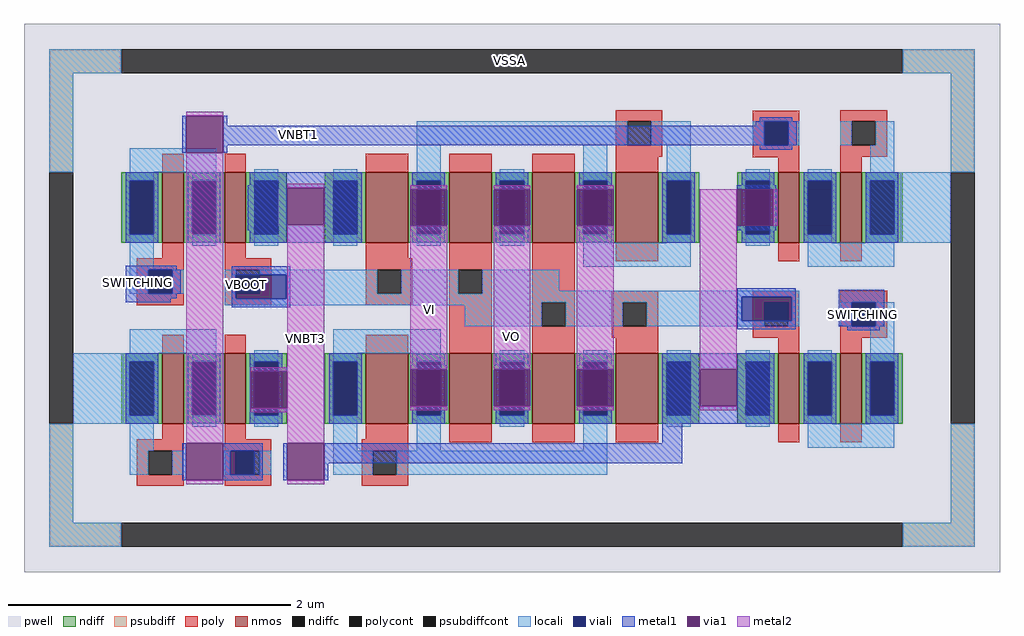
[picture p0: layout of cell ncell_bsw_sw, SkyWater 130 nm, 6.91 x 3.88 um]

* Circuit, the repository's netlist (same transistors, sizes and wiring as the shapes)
** sch_path: /home/yohanes/sky130_projects/UNIC-CASS-2024/xschem/ncell_bsw_sw.sch
.subckt ncell_bsw_sw VI VBOOT VNBT1 VNBT3 SWITCHING VSSA VO
*.PININFO VI:I VBOOT:I VNBT1:I VNBT3:I SWITCHING:I VSSA:I VO:O
XM1 VI VBOOT VNBT3 VSSA sky130_fd_pr__nfet_01v8 L=0.3 W=0.5 nf=1 m=2
XM2 VO VBOOT VI VSSA sky130_fd_pr__nfet_01v8 L=0.3 W=0.5 nf=1 m=4
XM3 VNBT3 VBOOT SWITCHING VSSA sky130_fd_pr__nfet_01v8 L=0.15 W=0.5 nf=1 m=2
XM4 VSSA VNBT1 VNBT3 VSSA sky130_fd_pr__nfet_01v8 L=0.15 W=0.5 nf=1 m=2
XM5 VI VI VI VSSA sky130_fd_pr__nfet_01v8 L=0.3 W=0.5 nf=1 m=2
XM6 VSSA VSSA VSSA VSSA sky130_fd_pr__nfet_01v8 L=0.15 W=0.5 nf=1 m=2
XM7 SWITCHING SWITCHING SWITCHING VSSA sky130_fd_pr__nfet_01v8 L=0.15 W=0.5 nf=1 m=2
.ends
.end

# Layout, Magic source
magic
tech sky130A
magscale 1 2
<< pwell >>
rect -503 -3662 879 -2886
<< ndiff >>
rect -186 -3172 -134 -3120
rect 598 -3172 650 -3120
rect 510 -3427 562 -3375
<< psubdiff >>
rect -467 -2956 -365 -2922
rect 741 -2956 843 -2922
rect -467 -3096 -433 -2956
rect 809 -3096 843 -2956
rect -467 -3592 -433 -3452
rect 809 -3592 843 -3452
rect -467 -3626 -365 -3592
rect 741 -3626 843 -3592
<< psubdiffcont >>
rect -365 -2956 741 -2922
rect -467 -3452 -433 -3096
rect 809 -3452 843 -3096
rect -365 -3626 741 -3592
<< poly >>
rect 335 -3024 401 -3008
rect 335 -3058 351 -3024
rect 385 -3058 401 -3024
rect 335 -3074 401 -3058
rect 529 -3024 595 -3009
rect 529 -3058 545 -3024
rect 579 -3058 595 -3024
rect 529 -3075 595 -3058
rect 653 -3024 719 -3008
rect 653 -3058 669 -3024
rect 703 -3058 719 -3024
rect 653 -3074 719 -3058
rect -343 -3234 -277 -3218
rect -343 -3268 -327 -3234
rect -293 -3268 -277 -3234
rect -343 -3284 -277 -3268
rect -219 -3234 -153 -3218
rect -219 -3268 -203 -3234
rect -169 -3268 -153 -3234
rect -219 -3284 -153 -3268
rect -19 -3234 47 -3218
rect -19 -3268 -3 -3234
rect 31 -3268 47 -3234
rect -19 -3284 47 -3268
rect 99 -3234 159 -3222
rect 99 -3268 112 -3234
rect 146 -3268 159 -3234
rect 99 -3326 159 -3268
rect 217 -3280 277 -3222
rect 217 -3314 230 -3280
rect 264 -3314 277 -3280
rect 217 -3326 277 -3314
rect 329 -3280 395 -3264
rect 329 -3314 345 -3280
rect 379 -3314 395 -3280
rect 329 -3330 395 -3314
rect 529 -3280 595 -3264
rect 529 -3314 545 -3280
rect 579 -3314 595 -3280
rect 529 -3330 595 -3314
rect 653 -3280 719 -3264
rect 653 -3314 669 -3280
rect 703 -3314 719 -3280
rect 653 -3330 719 -3314
rect -343 -3490 -277 -3474
rect -343 -3524 -327 -3490
rect -293 -3524 -277 -3490
rect -343 -3540 -277 -3524
rect -219 -3490 -153 -3474
rect -219 -3524 -203 -3490
rect -169 -3524 -153 -3490
rect -219 -3540 -153 -3524
rect -25 -3490 41 -3474
rect -25 -3524 -9 -3490
rect 25 -3524 41 -3490
rect -25 -3540 41 -3524
<< polycont >>
rect 351 -3058 385 -3024
rect 545 -3058 579 -3024
rect 669 -3058 703 -3024
rect -327 -3268 -293 -3234
rect -203 -3268 -169 -3234
rect -3 -3268 31 -3234
rect 112 -3268 146 -3234
rect 230 -3314 264 -3280
rect 345 -3314 379 -3280
rect 545 -3314 579 -3280
rect 669 -3314 703 -3280
rect -327 -3524 -293 -3490
rect -203 -3524 -169 -3490
rect -9 -3524 25 -3490
<< locali >>
rect -467 -2956 -365 -2922
rect 741 -2956 843 -2922
rect -467 -3096 -433 -2956
rect 53 -3058 351 -3024
rect 385 -3058 441 -3024
rect 529 -3058 545 -3024
rect 579 -3058 595 -3024
rect 653 -3058 669 -3024
rect 703 -3058 729 -3024
rect -353 -3096 -231 -3062
rect 53 -3095 87 -3058
rect 289 -3108 323 -3058
rect 407 -3108 441 -3058
rect 695 -3095 729 -3058
rect 809 -3096 843 -2956
rect 689 -3196 809 -3096
rect -353 -3234 -319 -3199
rect 289 -3230 441 -3196
rect 607 -3230 729 -3196
rect -353 -3268 -327 -3234
rect -293 -3268 -277 -3234
rect -219 -3275 -203 -3234
rect -169 -3241 -3 -3234
rect -132 -3268 -3 -3241
rect 31 -3268 112 -3234
rect 146 -3264 255 -3234
rect 146 -3268 595 -3264
rect -132 -3272 595 -3268
rect -132 -3275 513 -3272
rect -219 -3280 513 -3275
rect -219 -3284 230 -3280
rect 121 -3314 230 -3284
rect 264 -3314 345 -3280
rect 379 -3306 513 -3280
rect 584 -3306 595 -3272
rect 379 -3314 545 -3306
rect 579 -3314 595 -3306
rect 653 -3314 669 -3280
rect 703 -3314 729 -3280
rect -353 -3352 -231 -3318
rect -65 -3352 87 -3318
rect 695 -3349 729 -3314
rect -433 -3452 -313 -3352
rect -467 -3592 -433 -3452
rect -353 -3490 -319 -3456
rect -65 -3490 -31 -3456
rect 53 -3490 87 -3456
rect 289 -3490 323 -3456
rect 607 -3486 729 -3452
rect -353 -3524 -327 -3490
rect -293 -3524 -277 -3490
rect -219 -3524 -211 -3490
rect -169 -3524 -153 -3490
rect -65 -3524 -9 -3490
rect 25 -3524 323 -3490
rect 809 -3592 843 -3452
rect -467 -3626 -365 -3592
rect 741 -3626 843 -3592
<< viali >>
rect 545 -3058 579 -3024
rect -327 -3268 -293 -3234
rect -203 -3268 -169 -3241
rect -169 -3268 -132 -3241
rect -203 -3275 -132 -3268
rect 513 -3280 584 -3272
rect 513 -3306 545 -3280
rect 545 -3306 579 -3280
rect 579 -3306 584 -3280
rect 669 -3314 703 -3280
rect -211 -3524 -203 -3490
rect -203 -3524 -177 -3490
<< metal1 >>
rect -279 -3068 -273 -3016
rect -221 -3030 -215 -3016
rect 539 -3024 585 -3018
rect 533 -3030 545 -3024
rect -221 -3058 545 -3030
rect 579 -3058 591 -3024
rect -221 -3068 -215 -3058
rect 539 -3064 585 -3058
rect -183 -3114 -25 -3096
rect -186 -3118 -25 -3114
rect -186 -3170 -130 -3118
rect -78 -3170 -25 -3118
rect -186 -3178 -25 -3170
rect 44 -3120 96 -3114
rect 44 -3178 96 -3172
rect 162 -3120 214 -3114
rect 162 -3178 214 -3172
rect 280 -3120 332 -3114
rect 280 -3178 332 -3172
rect 506 -3120 562 -3114
rect 558 -3172 562 -3120
rect 506 -3178 562 -3172
rect -183 -3196 -25 -3178
rect -359 -3234 -287 -3228
rect -359 -3268 -327 -3234
rect -293 -3268 -281 -3234
rect -209 -3241 -126 -3229
rect -359 -3274 -287 -3268
rect -359 -3280 -295 -3274
rect -209 -3275 -203 -3241
rect -132 -3275 -126 -3241
rect -209 -3287 -126 -3275
rect 507 -3272 590 -3260
rect 507 -3306 513 -3272
rect 584 -3306 590 -3272
rect 507 -3318 590 -3306
rect 651 -3280 715 -3262
rect 651 -3314 669 -3280
rect 703 -3314 715 -3280
rect 663 -3320 709 -3314
rect -182 -3378 -130 -3372
rect -182 -3436 -130 -3430
rect 44 -3375 96 -3369
rect 44 -3433 96 -3427
rect 162 -3375 214 -3369
rect 162 -3433 214 -3427
rect 280 -3375 283 -3369
rect 311 -3375 332 -3369
rect 280 -3433 332 -3427
rect 401 -3375 559 -3352
rect 401 -3427 454 -3375
rect 506 -3427 559 -3375
rect 401 -3452 559 -3427
rect 401 -3480 429 -3452
rect -279 -3532 -273 -3480
rect -221 -3490 -165 -3480
rect -221 -3524 -211 -3490
rect -177 -3524 -165 -3490
rect -221 -3532 -165 -3524
rect -136 -3532 -130 -3480
rect -78 -3508 429 -3480
rect -78 -3532 -72 -3508
<< via1 >>
rect -273 -3068 -221 -3016
rect -130 -3170 -78 -3118
rect 44 -3172 96 -3120
rect 162 -3172 214 -3120
rect 280 -3172 332 -3120
rect 506 -3172 558 -3120
rect -182 -3430 -130 -3378
rect 44 -3427 96 -3375
rect 162 -3427 214 -3375
rect 280 -3427 332 -3375
rect 454 -3427 506 -3375
rect -273 -3532 -221 -3480
rect -130 -3532 -78 -3480
<< metal2 >>
rect -273 -3016 -221 -3010
rect -273 -3480 -221 -3068
rect -130 -3118 -78 -3112
rect -130 -3372 -78 -3170
rect -182 -3378 -78 -3372
rect -130 -3430 -78 -3378
rect -182 -3436 -78 -3430
rect 44 -3120 96 -3114
rect 44 -3375 96 -3172
rect 44 -3433 96 -3427
rect 162 -3120 214 -3114
rect 162 -3375 214 -3172
rect 162 -3433 214 -3427
rect 280 -3120 332 -3114
rect 280 -3375 332 -3172
rect 280 -3433 332 -3427
rect 454 -3375 506 -3120
rect 558 -3172 564 -3120
rect 454 -3433 506 -3427
rect -273 -3538 -221 -3532
rect -130 -3480 -78 -3436
rect -130 -3538 -78 -3532
use sky130_fd_pr__nfet_01v8_6J3TAM  sky130_fd_pr__nfet_01v8_6J3TAM_0
transform 1 0 -204 0 1 -3146
box -73 -76 73 76
use sky130_fd_pr__nfet_01v8_6J3TAM  sky130_fd_pr__nfet_01v8_6J3TAM_1
transform 1 0 580 0 1 -3402
box -73 -76 73 76
use sky130_fd_pr__nfet_01v8_6J3TAM  sky130_fd_pr__nfet_01v8_6J3TAM_2
transform 1 0 -204 0 1 -3402
box -73 -76 73 76
use sky130_fd_pr__nfet_01v8_6J3TAM  sky130_fd_pr__nfet_01v8_6J3TAM_3
transform 1 0 580 0 1 -3146
box -73 -76 73 76
use sky130_fd_pr__nfet_01v8_6J3TAM  sky130_fd_pr__nfet_01v8_6J3TAM_4
transform 1 0 668 0 1 -3146
box -73 -76 73 76
use sky130_fd_pr__nfet_01v8_6J3TAM  sky130_fd_pr__nfet_01v8_6J3TAM_5
transform 1 0 -292 0 1 -3402
box -73 -76 73 76
use sky130_fd_pr__nfet_01v8_6J3TAM  sky130_fd_pr__nfet_01v8_6J3TAM_6
transform 1 0 668 0 1 -3402
box -73 -76 73 76
use sky130_fd_pr__nfet_01v8_6J3TAM  sky130_fd_pr__nfet_01v8_6J3TAM_10
transform 1 0 -292 0 1 -3146
box -73 -76 73 76
use sky130_fd_pr__nfet_01v8_QS6TK8  sky130_fd_pr__nfet_01v8_QS6TK8_0
transform 1 0 11 0 1 -3146
box -88 -76 88 76
use sky130_fd_pr__nfet_01v8_QS6TK8  sky130_fd_pr__nfet_01v8_QS6TK8_1
transform 1 0 129 0 1 -3146
box -88 -76 88 76
use sky130_fd_pr__nfet_01v8_QS6TK8  sky130_fd_pr__nfet_01v8_QS6TK8_2
transform 1 0 247 0 1 -3146
box -88 -76 88 76
use sky130_fd_pr__nfet_01v8_QS6TK8  sky130_fd_pr__nfet_01v8_QS6TK8_3
transform 1 0 365 0 1 -3402
box -88 -76 88 76
use sky130_fd_pr__nfet_01v8_QS6TK8  sky130_fd_pr__nfet_01v8_QS6TK8_4
transform 1 0 365 0 1 -3146
box -88 -76 88 76
use sky130_fd_pr__nfet_01v8_QS6TK8  sky130_fd_pr__nfet_01v8_QS6TK8_5
transform 1 0 11 0 1 -3402
box -88 -76 88 76
use sky130_fd_pr__nfet_01v8_QS6TK8  sky130_fd_pr__nfet_01v8_QS6TK8_6
transform 1 0 129 0 1 -3402
box -88 -76 88 76
use sky130_fd_pr__nfet_01v8_QS6TK8  sky130_fd_pr__nfet_01v8_QS6TK8_7
transform 1 0 247 0 1 -3402
box -88 -76 88 76
<< labels >>
flabel metal2 s 71 -3290 71 -3290 0 FreeSans 320 0 0 0 VI
port 1 nsew
flabel metal1 s -188 -3255 -188 -3255 0 FreeSans 320 0 0 0 VBOOT
port 2 nsew
flabel metal2 s -104 -3331 -104 -3331 0 FreeSans 320 0 0 0 VNBT3
port 4 nsew
flabel metal1 s -342 -3252 -342 -3252 0 FreeSans 320 0 0 0 SWITCHING
port 5 nsew
flabel metal1 s 684 -3298 684 -3298 0 FreeSans 320 0 0 0 SWITCHING
flabel locali s 184 -2937 184 -2937 0 FreeSans 320 0 0 0 VSSA
port 6 nsew
flabel metal1 s -115 -3042 -115 -3042 0 FreeSans 320 0 0 0 VNBT1
port 3 nsew
flabel metal2 s 187 -3329 187 -3329 0 FreeSans 320 0 0 0 VO
port 7 nsew
<< end >>

# cell sky130_fd_pr__nfet_01v8_6J3TAM: kit device sky130_fd_pr__nfet_01v8, w 0.5 l 0.15 m 1 nf 1 diffcov 100 polycov 100 guard 0 glc 1 grc 1 gtc 1 gbc 1 tbcov 100 rlcov 100 topc 0 botc 0 poverlap 0 doverlap 0 lmin 0.15 wmin 0.42 compatible {sky130_fd_pr__nfet_01v8 sky130_fd_pr__nfet_01v8_lvt sky130_fd_bs_flash__special_sonosfet_star sky130_fd_pr__nfet_g5v0d10v5 sky130_fd_pr__nfet_05v0_nvt sky130_fd_pr__nfet_03v3_nvt} full_metal 1 viasrc 100 viadrn 100 viagate 100 viagb 0 viagr 0 viagl 0 viagt 0

# cell sky130_fd_pr__nfet_01v8_QS6TK8: kit device sky130_fd_pr__nfet_01v8, w 0.5 l 0.3 m 1 nf 1 diffcov 100 polycov 100 guard 0 glc 1 grc 1 gtc 1 gbc 1 tbcov 100 rlcov 100 topc 0 botc 0 poverlap 0 doverlap 0 lmin 0.15 wmin 0.42 compatible {sky130_fd_pr__nfet_01v8 sky130_fd_pr__nfet_01v8_lvt sky130_fd_bs_flash__special_sonosfet_star sky130_fd_pr__nfet_g5v0d10v5 sky130_fd_pr__nfet_05v0_nvt sky130_fd_pr__nfet_03v3_nvt} full_metal 1 viasrc 100 viadrn 100 viagate 100 viagb 0 viagr 0 viagl 0 viagt 0
